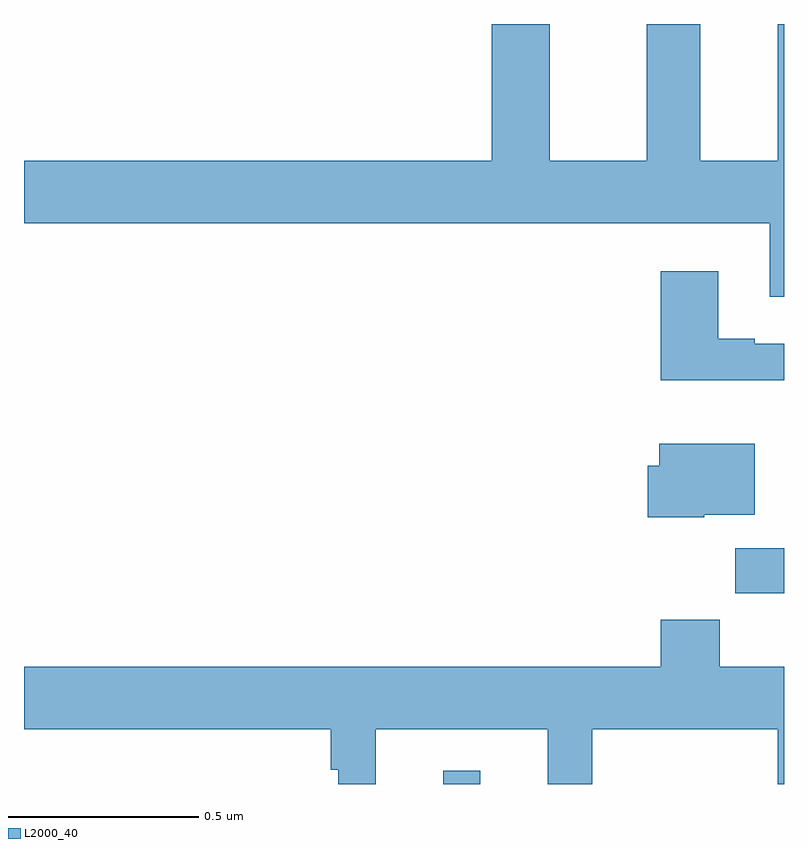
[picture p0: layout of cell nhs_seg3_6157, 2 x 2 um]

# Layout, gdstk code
import gdstk
lib = gdstk.Library(unit=1e-6, precision=1e-09)
def R(c, l, rs):  # rectangles x0, y0, x1, y1
    for r in rs: c.add(gdstk.rectangle(r[:2], r[2:], *l))
def P(c, l, *ps):  # polygons
    for p in ps: c.add(gdstk.Polygon(p, *l))
L2000_40 = (2000, 40)

nhs_seg3_6157 = lib.new_cell('nhs_seg3_6157')
R(nhs_seg3_6157, L2000_40, [(188.103,739.4,188.2,739.435), (188.872,739.902,189,740.02)])
P(nhs_seg3_6157, L2000_40, [(189,741.4),(188.984,741.4),(188.984,741.04),(188.779,741.04),(188.779,741.4),(188.639,741.4),(188.639,741.04),(188.383,741.04),(188.383,741.4),(188.231,741.4),(188.231,741.04),(187,741.04),(187,740.876),(188.963,740.876),(188.963,740.682),(189,740.682)],
  [(189,740.559),(188.923,740.559),(188.923,740.572),(188.827,740.572),(188.827,740.749),(188.675,740.749),(188.675,740.462),(189,740.462)],
  [(188.79,740.108),(188.923,740.108),(188.923,740.296),(188.672,740.296),(188.672,740.238),(188.642,740.238),(188.642,740.102),(188.79,740.102)],
  [(187.925,739.544),(188.378,739.544),(188.378,739.4),(188.495,739.4),(188.495,739.544),(188.984,739.544),(188.984,739.4),(189,739.4),(189,739.708),(188.831,739.708),(188.831,739.832),(188.675,739.832),(188.675,739.708),(187,739.708),(187,739.544),(187.807,739.544),(187.807,739.437),(187.827,739.437),(187.827,739.4),(187.925,739.4)])

lib.write_gds('nhs_seg3_6157.gds')
